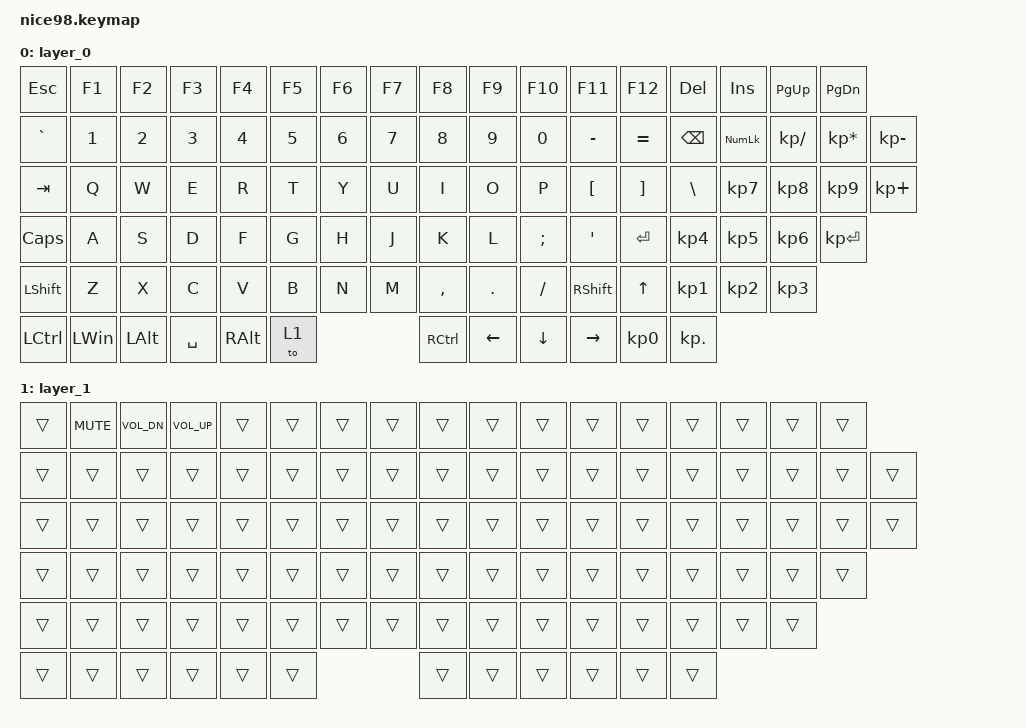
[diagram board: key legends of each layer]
/*
 * Copyright (c) 2021 Nick Winans
 *
 * SPDX-License-Identifier: MIT
 */

#include <behaviors.dtsi>
#include <dt-bindings/zmk/keys.h>
#include <dt-bindings/zmk/rgb.h>
#include <dt-bindings/zmk/bt.h>

/ {
    keymap {
        compatible = "zmk,keymap";

// FC980M
        layer_0 {
            bindings = <
&kp ESC    &kp F1        &kp F2        &kp F3     &kp F4    &kp F5     &kp F6  &kp F7  &kp F8     &kp F9   &kp F10   &kp F11    &kp F12         &kp DEL         &kp INS          &kp PAGE_UP      &kp PAGE_DOWN
&kp GRAVE  &kp N1        &kp N2        &kp N3     &kp N4    &kp N5     &kp N6  &kp N7  &kp N8     &kp N9   &kp N0    &kp MINUS  &kp EQUAL       &kp BSPC        &kp KP_NUMLOCK   &kp KP_SLASH     &kp KP_MULTIPLY  &kp KP_MINUS
&kp TAB    &kp Q         &kp W         &kp E      &kp R     &kp T      &kp Y   &kp U   &kp I      &kp O    &kp P     &kp LBKT   &kp RBKT        &kp BSLH        &kp KP_NUMBER_7  &kp KP_NUMBER_8  &kp KP_NUMBER_9  &kp KP_PLUS
&kp CAPS   &kp A         &kp S         &kp D      &kp F     &kp G      &kp H   &kp J   &kp K      &kp L    &kp SEMI  &kp APOS   &kp ENTER       &kp KP_NUMBER_4  &kp KP_NUMBER_5  &kp KP_NUMBER_6  &kp KP_ENTER
&kp LSHFT  &kp Z         &kp X         &kp C      &kp V     &kp B      &kp N   &kp M   &kp COMMA  &kp DOT  &kp FSLH  &kp RSHFT  &kp UP_ARROW    &kp KP_NUMBER_1  &kp KP_NUMBER_2  &kp KP_NUMBER_3
&kp LCTRL  &kp LEFT_WIN  &kp LEFT_ALT  &kp SPACE  &kp RALT  &to 1   &kp RCTRL  &kp LEFT_ARROW  &kp DOWN_ARROW  &kp RIGHT_ARROW  &kp KP_NUMBER_0  &kp KP_DOT
            >;
        };

        layer_1 {
            bindings = <
&trans  &kp K_MUTE  &kp K_VOL_DN  &kp K_VOLUME_UP  &trans  &trans  &trans  &trans  &trans  &trans  &trans  &trans  &trans  &trans  &trans  &trans  &trans
&trans  &trans      &trans        &trans           &trans  &trans  &trans  &trans  &trans  &trans  &trans  &trans  &trans  &trans  &trans  &trans  &trans  &trans
&trans  &trans      &trans        &trans           &trans  &trans  &trans  &trans  &trans  &trans  &trans  &trans  &trans  &trans  &trans  &trans  &trans  &trans
&trans  &trans      &trans        &trans           &trans  &trans  &trans  &trans  &trans  &trans  &trans  &trans  &trans  &trans  &trans  &trans  &trans
&trans  &trans      &trans        &trans           &trans  &trans  &trans  &trans  &trans  &trans  &trans  &trans  &trans  &trans  &trans  &trans
&trans  &trans      &trans        &trans           &trans  &trans  &trans  &trans  &trans  &trans  &trans  &trans
            >;
        };
    };
};
